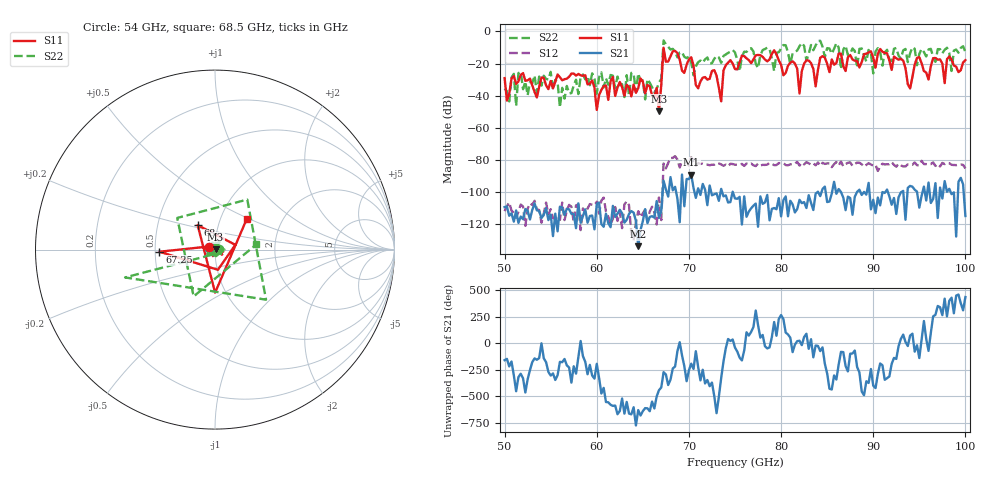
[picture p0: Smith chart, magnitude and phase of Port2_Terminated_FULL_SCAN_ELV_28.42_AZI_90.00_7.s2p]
! 11/25/2026 1:42:05 PM
! C:\ANRITSUVNA\TEMP\TEMP.S2P
! CHANNEL.1
! TR.MEASUREMENT
! RAW.DATA
# HZ S RI R 50.0
! FREQ.HZ  S11RE  S11IM  S21RE  S21IM  S12RE  S12IM  S22RE  S22IM
!; PortSelection: Port_12
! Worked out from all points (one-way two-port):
!   201 points, 50 GHz to 100 GHz, reference 50 ohm
!   highest |S21| = -89.28 dB at 70.25 GHz (marker M1); lowest = -134.0 dB at 64.5 GHz (marker M2)
!   lowest |S11| = -49.7 dB at 66.75 GHz (marker M3), VSWR 1.01, Z = 50.3 + j0.0709 ohm
!   |S11| at or under -10 dB: start of sweep to end of sweep
!   |S22| runs from -47.5 to -5.6 dB; largest |S21 - S12| = 0.00013
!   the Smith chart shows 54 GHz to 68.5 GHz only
!   S11 on the Smith chart (normalised r, x): 54 GHz: 0.93, +0.03; 67.25 GHz: 0.53, -0.01; 68 GHz: 0.80, +0.22; 68.5 GHz: 1.33, +0.49
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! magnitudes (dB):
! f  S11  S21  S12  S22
! 50 GHz  -29.1  -109.6  -112.1  -35.6
! 54 GHz  -28.7  -116.5  -119.3  -33.8
! 55 GHz  -30.9  -114.2  -110.9  -25.2
! 56 GHz  -28.6  -109.3  -117.6  -47.5
! 58.5 GHz  -27.7  -115.1  -110.4  -26.9
! 60 GHz  -48.9  -107.5  -106.2  -38.9
! 64.5 GHz  -35.4  -134.0  -112.1  -26.2
! 66.75 GHz  -49.7  -116.4  -103.6  -31.9
! 67.25 GHz  -10.2  -93.1  -82.4  -5.6
! 68 GHz  -15.5  -90.9  -78.9  -11.2
! 68.5 GHz  -12.1  -96.9  -77.8  -12.7
! 70.25 GHz  -16.1  -89.3  -78.6  -19.2
! 73.5 GHz  -43.6  -98.2  -83.0  -19.6
! 73.75 GHz  -24.3  -102.9  -83.8  -15.3
! 75 GHz  -23.5  -104.2  -83.1  -13.0
! 79.25 GHz  -11.8  -110.2  -83.4  -24.8
! 82 GHz  -38.7  -105.0  -83.7  -9.2
! 83.5 GHz  -23.3  -111.4  -82.3  -11.7
! 91.75 GHz  -18.1  -102.9  -82.8  -17.5
! 94 GHz  -35.6  -96.4  -82.9  -13.7
! 94.75 GHz  -16.5  -99.9  -83.5  -21.1
! 100 GHz  -17.9  -115.2  -85.5  -12.9
